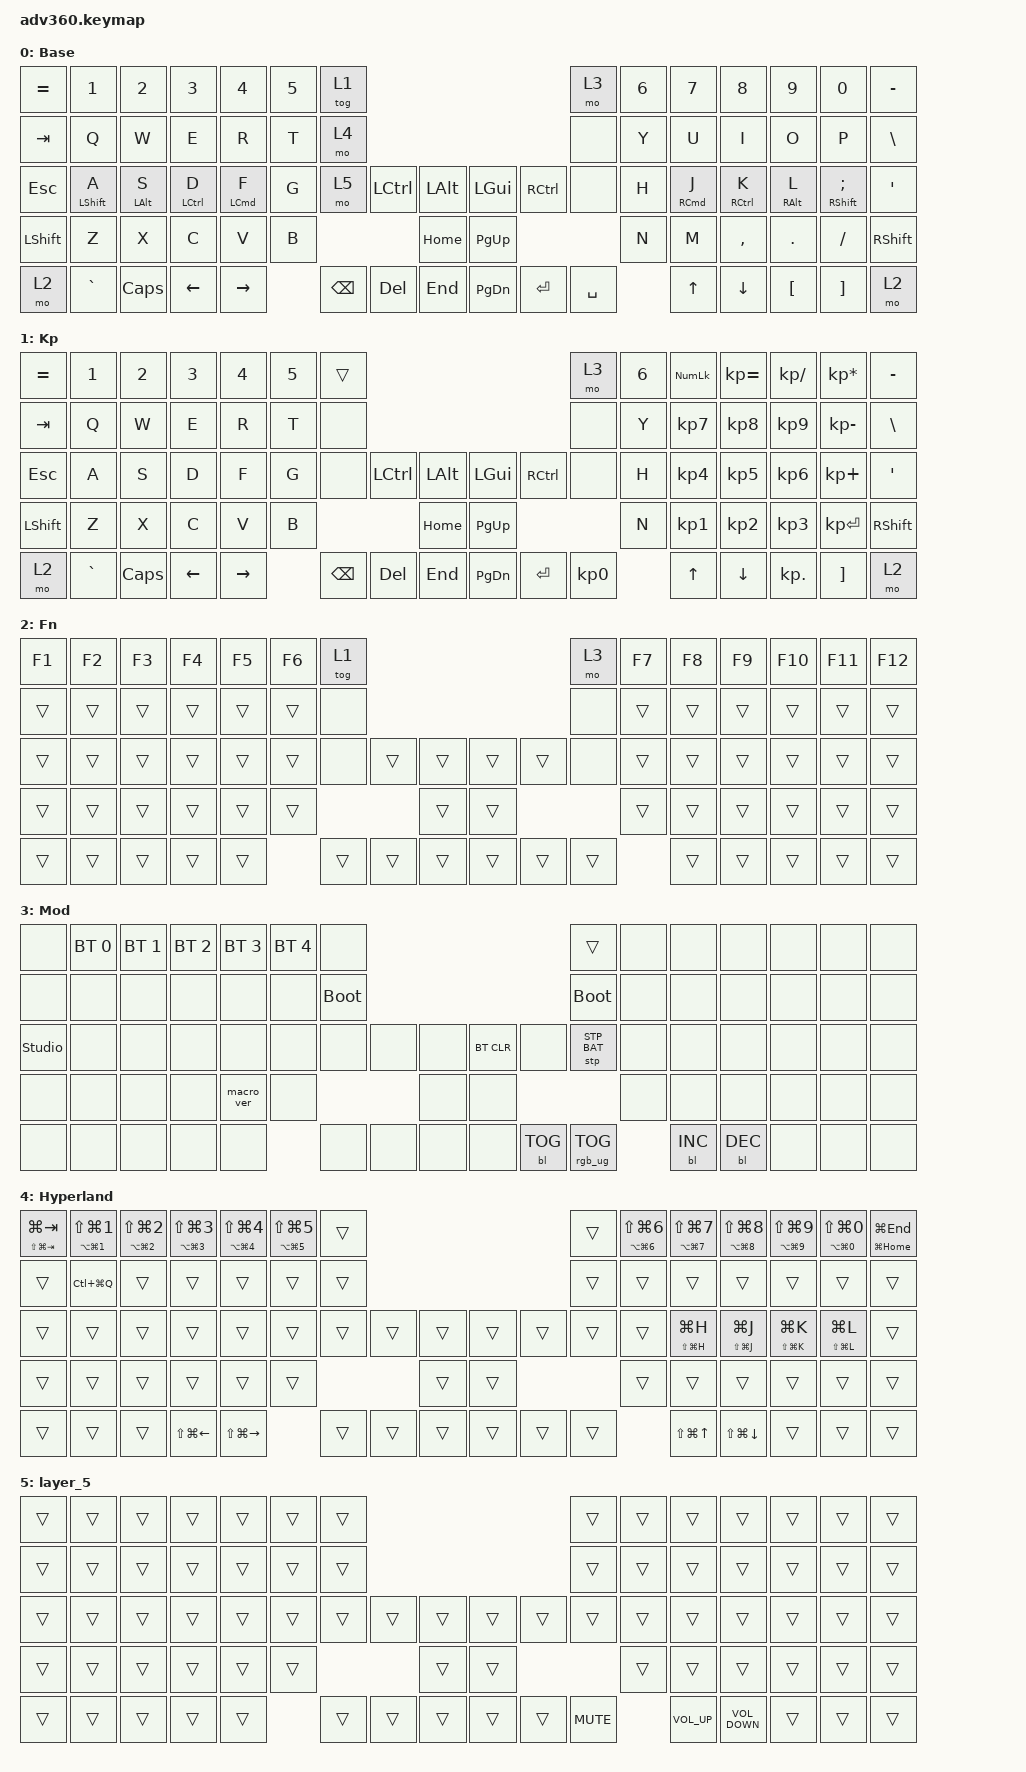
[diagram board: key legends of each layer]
#include <dt-bindings/zmk/stp.h>
#include <behaviors.dtsi>
#include <dt-bindings/zmk/backlight.h>
#include <dt-bindings/zmk/bt.h>
#include <dt-bindings/zmk/keys.h>
#include <dt-bindings/zmk/rgb.h>

/ {
    behaviors {
        #include "macros.dtsi"
      #include "version.dtsi"

        hm: homerow_mods {
            compatible = "zmk,behavior-hold-tap";
            label = "HOMEROW_MODS";
            #binding-cells = <2>;
            tapping-term-ms = <200>;
            quick_tap_ms = <175>;
            flavor = "hold-preferred";
            bindings = <&kp>, <&kp>;
        };
    };

    keymap {
        compatible = "zmk,keymap";

        default_layer {
            display-name = "Base";
            bindings = <
&kp EQUAL  &kp N1       &kp N2          &kp N3       &kp N4              &kp N5  &tog 1                                                   &mo 3      &kp N6  &kp N7               &kp N8          &kp N9           &kp N0                &kp MINUS
&kp TAB    &kp Q        &kp W           &kp E        &kp R               &kp T   &mo 4                                                    &none      &kp Y   &kp U                &kp I           &kp O            &kp P                 &kp BSLH
&kp ESC    &hm LSHFT A  &hm LEFT_ALT S  &hm LCTRL D  &hm LEFT_COMMAND F  &kp G   &mo 5     &kp LCTRL  &kp LALT      &kp LGUI   &kp RCTRL  &none      &kp H   &hm RIGHT_COMMAND J  &hm RCTRL K     &hm RIGHT_ALT L  &hm RIGHT_SHIFT SEMI  &kp SQT
&kp LSHFT  &kp Z        &kp X           &kp C        &kp V               &kp B                        &kp HOME      &kp PG_UP                        &kp N   &kp M                &kp COMMA       &kp DOT          &kp FSLH              &kp RSHFT
&mo 2      &kp GRAVE    &kp CAPS        &kp LEFT     &kp RIGHT                   &kp BSPC  &kp DEL    &kp END       &kp PG_DN  &kp ENTER  &kp SPACE          &kp UP_ARROW         &kp DOWN_ARROW  &kp LBKT         &kp RBKT              &mo 2
            >;
        };

        keypad {
            display-name = "Kp";
            bindings = <
&kp EQUAL  &kp N1     &kp N2    &kp N3    &kp N4     &kp N5  &trans                                                   &mo 3      &kp N6  &kp KP_NUM       &kp KP_EQUAL  &kp KP_DIVIDE  &kp KP_MULTIPLY  &kp MINUS
&kp TAB    &kp Q      &kp W     &kp E     &kp R      &kp T   &none                                                    &none      &kp Y   &kp KP_N7        &kp KP_N8     &kp KP_N9      &kp KP_MINUS     &kp BSLH
&kp ESC    &kp A      &kp S     &kp D     &kp F      &kp G   &none     &kp LCTRL  &kp LALT      &kp LGUI   &kp RCTRL  &none      &kp H   &kp KP_N4        &kp KP_N5     &kp KP_N6      &kp KP_PLUS      &kp SQT
&kp LSHFT  &kp Z      &kp X     &kp C     &kp V      &kp B                        &kp HOME      &kp PG_UP                        &kp N   &kp KP_NUMBER_1  &kp KP_N2     &kp KP_N3      &kp KP_ENTER     &kp RSHFT
&mo 2      &kp GRAVE  &kp CAPS  &kp LEFT  &kp RIGHT          &kp BSPC  &kp DEL    &kp END       &kp PG_DN  &kp ENTER  &kp KP_N0          &kp UP           &kp DOWN      &kp KP_DOT     &kp RBKT         &mo 2
            >;
        };

        fn {
            display-name = "Fn";
            bindings = <
&kp F1  &kp F2  &kp F3  &kp F4  &kp F5  &kp F6  &tog 1                                      &mo 3   &kp F7  &kp F8  &kp F9  &kp F10  &kp F11  &kp F12
&trans  &trans  &trans  &trans  &trans  &trans  &none                                       &none   &trans  &trans  &trans  &trans   &trans   &trans
&trans  &trans  &trans  &trans  &trans  &trans  &none   &trans  &trans      &trans  &trans  &none   &trans  &trans  &trans  &trans   &trans   &trans
&trans  &trans  &trans  &trans  &trans  &trans                  &trans      &trans                  &trans  &trans  &trans  &trans   &trans   &trans
&trans  &trans  &trans  &trans  &trans          &trans  &trans  &trans      &trans  &trans  &trans          &trans  &trans  &trans   &trans   &trans
            >;
        };

        mod {
            display-name = "Mod";
            bindings = <
&none           &bt BT_SEL 0  &bt BT_SEL 1  &bt BT_SEL 2  &bt BT_SEL 3  &bt BT_SEL 4  &none                                                  &trans           &none  &none       &none       &none  &none  &none
&none           &none         &none         &none         &none         &none         &bootloader                                            &bootloader      &none  &none       &none       &none  &none  &none
&studio_unlock  &none         &none         &none         &none         &none         &none        &none  &none      &bt BT_CLR  &none       &stp STP_BAT     &none  &none       &none       &none  &none  &none
&none           &none         &none         &none         &macro_ver    &none                             &none      &none                                    &none  &none       &none       &none  &none  &none
&none           &none         &none         &none         &none                       &none        &none  &none      &none       &bl BL_TOG  &rgb_ug RGB_TOG         &bl BL_INC  &bl BL_DEC  &none  &none  &none
            >;
        };

        Hyperland {
            bindings = <
&hm LS(LG(TAB)) LG(TAB)  &hm LA(LG(NUMBER_1)) LS(LG(NUMBER_1))  &hm LA(LG(NUMBER_2)) LS(LG(NUMBER_2))  &hm LA(LG(NUMBER_3)) LS(LG(NUMBER_3))  &hm LA(LG(NUMBER_4)) LS(LG(NUMBER_4))  &hm LA(LG(NUMBER_5)) LS(LG(NUMBER_5))  &trans                                      &trans  &hm LA(LG(NUMBER_6)) LS(LG(NUMBER_6))  &hm LA(LG(NUMBER_7)) LS(LG(NUMBER_7))  &hm LA(LG(NUMBER_8)) LS(LG(NUMBER_8))  &hm LA(LG(NUMBER_9)) LS(LG(NUMBER_9))  &hm LA(LG(NUMBER_0)) LS(LG(NUMBER_0))  &hm LG(HOME) LG(END)
&trans                   &kp LC(LG(Q))                          &trans                                 &trans                                 &trans                                 &trans                                 &trans                                      &trans  &trans                                 &trans                                 &trans                                 &trans                                 &trans                                 &trans
&trans                   &trans                                 &trans                                 &trans                                 &trans                                 &trans                                 &trans  &trans  &trans      &trans  &trans  &trans  &trans                                 &hm LS(LG(H)) LG(H)                    &hm LS(LG(J)) LG(J)                    &hm LS(LG(K)) LG(K)                    &hm LS(LG(L)) LG(L)                    &trans
&trans                   &trans                                 &trans                                 &trans                                 &trans                                 &trans                                                 &trans      &trans                  &trans                                 &trans                                 &trans                                 &trans                                 &trans                                 &trans
&trans                   &trans                                 &trans                                 &kp LS(LG(LEFT_ARROW))                 &kp LS(LG(RIGHT))                                                             &trans  &trans  &trans      &trans  &trans  &trans                                         &kp LS(LG(UP_ARROW))                   &kp LS(LG(DOWN))                       &trans                                 &trans                                 &trans
            >;
        };

        layer_5 {
            bindings = <
&trans  &trans  &trans  &trans  &trans  &trans  &trans                                      &trans      &trans  &trans           &trans             &trans  &trans  &trans
&trans  &trans  &trans  &trans  &trans  &trans  &trans                                      &trans      &trans  &trans           &trans             &trans  &trans  &trans
&trans  &trans  &trans  &trans  &trans  &trans  &trans  &trans  &trans      &trans  &trans  &trans      &trans  &trans           &trans             &trans  &trans  &trans
&trans  &trans  &trans  &trans  &trans  &trans                  &trans      &trans                      &trans  &trans           &trans             &trans  &trans  &trans
&trans  &trans  &trans  &trans  &trans          &trans  &trans  &trans      &trans  &trans  &kp K_MUTE          &kp K_VOLUME_UP  &kp K_VOLUME_DOWN  &trans  &trans  &trans
            >;
        };
    };
};
